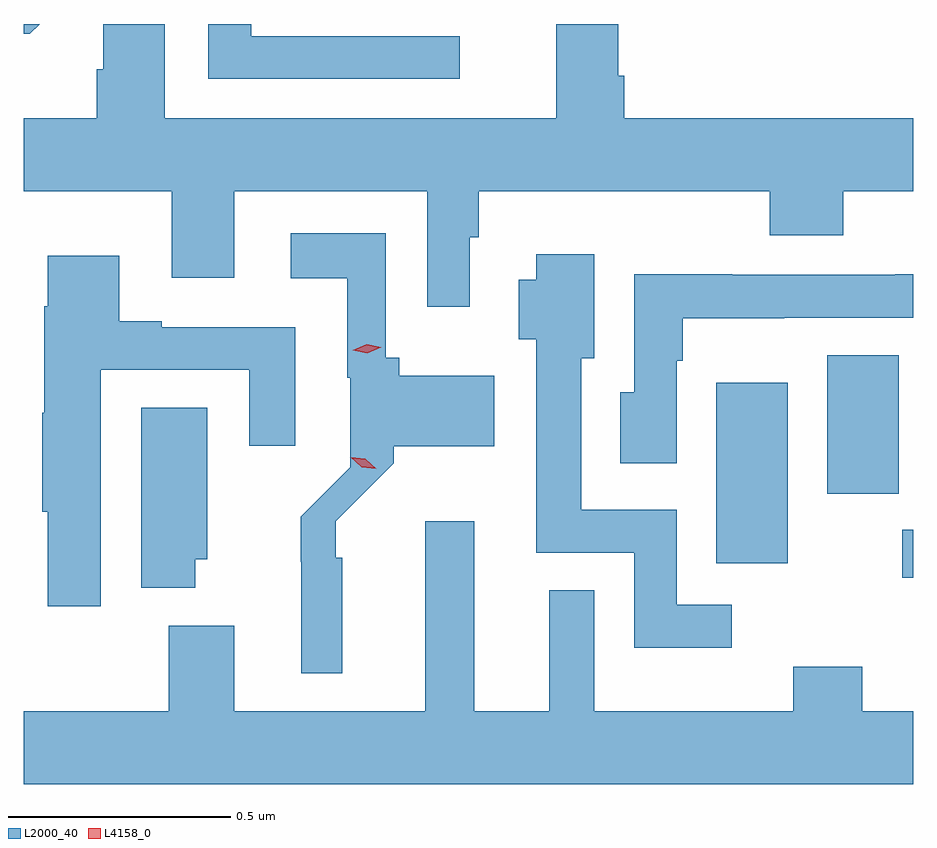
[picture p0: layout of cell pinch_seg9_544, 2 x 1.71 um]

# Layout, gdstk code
import gdstk
lib = gdstk.Library(unit=1e-6, precision=1e-09)
def R(c, l, rs):  # rectangles x0, y0, x1, y1
    for r in rs: c.add(gdstk.rectangle(r[:2], r[2:], *l))
def P(c, l, *ps):  # polygons
    for p in ps: c.add(gdstk.Polygon(p, *l))
L2000_40 = (2000, 40)
L4158_0 = (4158, 0)

pinch_seg9_544 = lib.new_cell('pinch_seg9_544')
R(pinch_seg9_544, L2000_40, [(383.079,1202.211,383.104,1202.319), (382.661,1202.244,382.822,1202.65), (382.91,1202.4,383.071,1202.711)])
P(pinch_seg9_544, L2000_40, [(382.107,1202.977),(382.127,1202.977),(382.127,1203.08),(382.781,1203.08),(382.781,1202.981),(382.946,1202.981),(382.946,1203.08),(383.104,1203.08),(383.104,1203.244),(382.454,1203.244),(382.454,1203.34),(382.441,1203.34),(382.441,1203.456),(382.301,1203.456),(382.301,1203.244),(381.421,1203.244),(381.421,1203.456),(381.283,1203.456),(381.283,1203.354),(381.269,1203.354),(381.269,1203.244),(381.104,1203.244),(381.104,1203.08),(381.437,1203.08),(381.437,1202.886),(381.577,1202.886),(381.577,1203.08),(382.011,1203.08),(382.011,1202.82),(382.107,1202.82)],
  [(382.084,1203.429),(381.616,1203.429),(381.616,1203.456),(381.519,1203.456),(381.519,1203.333),(382.084,1203.333)],
  [(381.14,1203.456),(381.104,1203.456),(381.104,1203.434),(381.118,1203.434)],
  [(381.82,1202.257),(381.806,1202.257),(381.806,1202.339),(381.936,1202.469),(381.936,1202.507),(382.162,1202.507),(382.162,1202.665),(381.948,1202.665),(381.948,1202.706),(381.918,1202.706),(381.918,1202.986),(381.705,1202.986),(381.705,1202.885),(381.832,1202.885),(381.832,1202.661),(381.838,1202.661),(381.838,1202.46),(381.727,1202.349),(381.727,1202.247),(381.728,1202.247),(381.728,1201.997),(381.82,1201.997)],
  [(382.696,1202.151),(382.572,1202.151),(382.572,1202.364),(382.357,1202.364),(382.357,1202.705),(382.387,1202.705),(382.387,1202.938),(382.256,1202.938),(382.256,1202.881),(382.217,1202.881),(382.217,1202.747),(382.256,1202.747),(382.256,1202.268),(382.476,1202.268),(382.476,1202.054),(382.696,1202.054)],
  [(381.277,1202.679),(381.611,1202.679),(381.611,1202.508),(381.715,1202.508),(381.715,1202.775),(381.415,1202.775),(381.415,1202.788),(381.319,1202.788),(381.319,1202.935),(381.158,1202.935),(381.158,1202.822),(381.151,1202.822),(381.151,1202.582),(381.146,1202.582),(381.146,1202.36),(381.158,1202.36),(381.158,1202.148),(381.277,1202.148)],
  [(382.572,1202.699),(382.585,1202.699),(382.585,1202.795),(382.814,1202.795),(382.814,1202.796),(383.104,1202.796),(383.104,1202.894),(383.063,1202.894),(383.063,1202.892),(382.697,1202.892),(382.697,1202.894),(382.476,1202.894),(382.476,1202.628),(382.445,1202.628),(382.445,1202.469),(382.572,1202.469)],
  [(381.49,1202.253),(381.517,1202.253),(381.517,1202.594),(381.368,1202.594),(381.368,1202.189),(381.49,1202.189)],
  [(383.104,1201.912),(382.989,1201.912),(382.989,1202.011),(382.834,1202.011),(382.834,1201.912),(382.387,1201.912),(382.387,1202.183),(382.286,1202.183),(382.286,1201.912),(382.117,1201.912),(382.117,1202.338),(382.007,1202.338),(382.007,1201.912),(381.577,1201.912),(381.577,1202.104),(381.43,1202.104),(381.43,1201.912),(381.104,1201.912),(381.104,1201.748),(383.104,1201.748)])
P(pinch_seg9_544, L4158_0, [(381.877,1202.716),(381.844,1202.723),(381.844,1202.723),(381.844,1202.723),(381.875,1202.736),(381.908,1202.729),(381.908,1202.729),(381.908,1202.729)],
  [(381.897,1202.456),(381.864,1202.46),(381.839,1202.482),(381.839,1202.482),(381.839,1202.482),(381.872,1202.479),(381.897,1202.457),(381.897,1202.457)])

lib.write_gds('pinch_seg9_544.gds')
